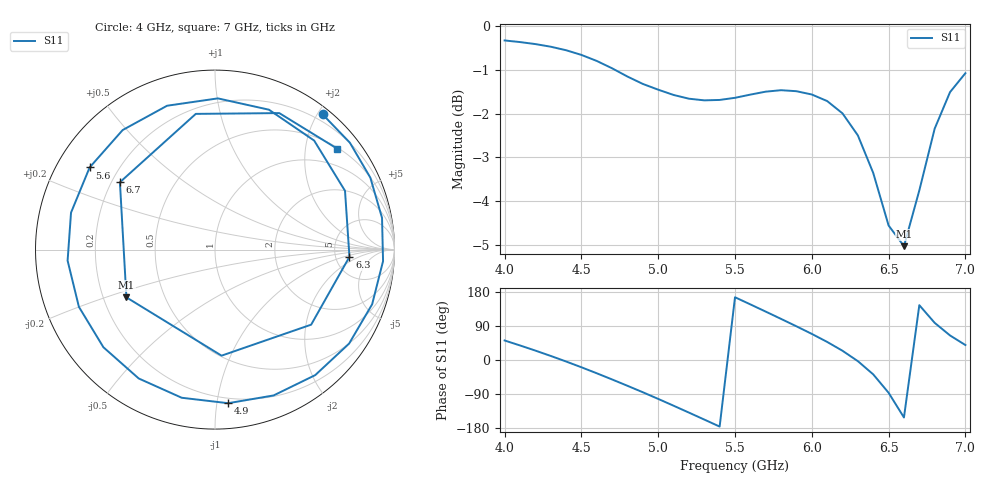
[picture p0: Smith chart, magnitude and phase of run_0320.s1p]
! Touchstone file exported from HFSS 2024.2.0
!  File:  C:/Users/wsak9/Desktop/Sim Fast/Widenad Patch/WP_AI_V1_sweep.aedt
!  Generated:  04:33:05 AM Oct 14, 2026
!  Design:  A1_model
!  Project:  WP_AI_V1_sweep
!  Setup:  Setup1
!  Solution:  Sweep
! Variables:
!  Air_gap = 4.64mm
!  Curve_Amp1 = 0.73
!  Curve_len1 = 1
!  Curve_pos = 9.575mm
!  Extra = 4.94mm
!  H_sub = 0.79mm
!  L_Patch = 15.15mm
!  L_Patch1 = 17.62mm
!  Sx = 1.96mm
!  Sy = 4.12mm
!  WS = 0.8mm
!  W_Patch = 19.59mm
!  W_Patch1 = 12.68mm
!Data is not renormalized
# GHz S MA
! Terminal data exported
! Port[1] = 1
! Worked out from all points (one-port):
!   31 points, 4 GHz to 7 GHz, reference per port
!   lowest |S11| = -5.0 dB at 6.6 GHz (marker M1), VSWR 3.55
!   |S11| at or under -10 dB: nowhere
!   S11 on the Smith chart (normalised r, x): 4 GHz: 0.10, +2.07; 4.9 GHz: 0.16, -1.08; 5.6 GHz: 0.10, +0.30; 6.3 GHz: 6.77, -1.24; 6.7 GHz: 0.23, +0.30; 7 GHz: 0.53, +2.70
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4  0.9629 51.5
4.2  0.9538 24.9
4.4  0.9385 -3.9
4.5  0.927 -19.2
4.6  0.9124 -35.0
4.8  0.8757 -68.1
4.9  0.8589 -85.1
5  0.846 -102.7
5.1  0.8344 -120.6
5.2  0.8262 -138.8
5.3  0.8226 -157.2
5.4  0.8235 -175.7
5.5  0.8282 165.6
5.6  0.8352 146.7
5.7  0.8416 127.7
5.8  0.8449 108.4
5.9  0.8426 88.9
6  0.8354 68.9
6.1  0.8211 47.7
6.2  0.7949 24.3
6.3  0.7502 -3.1
6.4  0.6797 -38.0
6.5  0.592 -86.5
6.6  0.5607 -151.7
6.7  0.6492 144.7
6.8  0.7637 98.1
6.9  0.8406 64.8
7  0.8835 39.5
